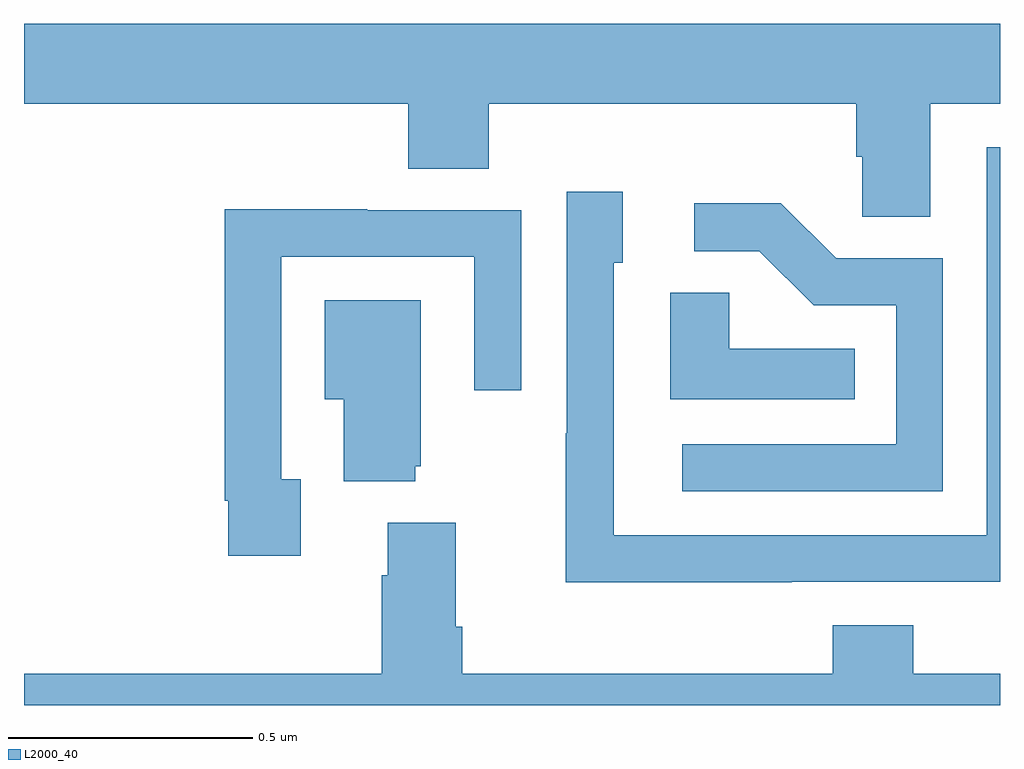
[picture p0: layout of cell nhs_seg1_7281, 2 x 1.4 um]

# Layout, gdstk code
import gdstk
lib = gdstk.Library(unit=1e-6, precision=1e-09)
def P(c, l, *ps):  # polygons
    for p in ps: c.add(gdstk.Polygon(p, *l))
L2000_40 = (2000, 40)

nhs_seg1_7281 = lib.new_cell('nhs_seg1_7281')
P(nhs_seg1_7281, L2000_40, [(203.857,518.432),(204,518.432),(204,518.596),(202,518.596),(202,518.432),(202.787,518.432),(202.787,518.299),(202.952,518.299),(202.952,518.432),(203.705,518.432),(203.705,518.323),(203.718,518.323),(203.718,518.2),(203.857,518.2)],
  [(203.573,517.452),(204,517.452),(204,518.343),(203.973,518.343),(203.973,517.548),(203.208,517.548),(203.208,518.106),(203.227,518.106),(203.227,518.251),(203.112,518.251),(203.112,517.757),(203.11,517.757),(203.11,517.451),(203.573,517.451)],
  [(203.883,518.115),(203.664,518.115),(203.551,518.228),(203.373,518.228),(203.373,518.13),(203.507,518.13),(203.618,518.019),(203.787,518.019),(203.787,517.734),(203.349,517.734),(203.349,517.638),(203.883,517.638)],
  [(202.567,517.662),(202.527,517.662),(202.527,518.118),(202.923,518.118),(202.923,517.845),(203.019,517.845),(203.019,518.214),(202.703,518.214),(202.703,518.216),(202.411,518.216),(202.411,517.618),(202.419,517.618),(202.419,517.506),(202.567,517.506)],
  [(203.702,517.93),(203.445,517.93),(203.445,518.045),(203.324,518.045),(203.324,517.826),(203.702,517.826)],
  [(202.802,517.689),(202.813,517.689),(202.813,518.029),(202.616,518.029),(202.616,517.826),(202.655,517.826),(202.655,517.658),(202.802,517.658)],
  [(204,517.264),(203.822,517.264),(203.822,517.363),(203.657,517.363),(203.657,517.264),(202.898,517.264),(202.898,517.36),(202.885,517.36),(202.885,517.573),(202.745,517.573),(202.745,517.466),(202.733,517.466),(202.733,517.264),(202,517.264),(202,517.199),(204,517.199)])

lib.write_gds('nhs_seg1_7281.gds')
